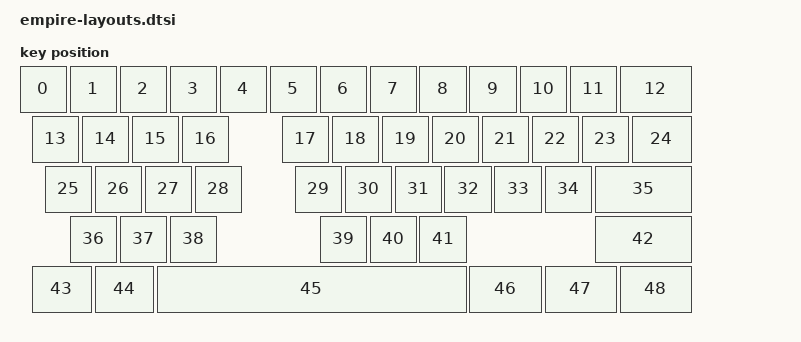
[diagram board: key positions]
#include <physical_layouts.dtsi>

/ {
    physical_layout0: physical_layout_0 {
        compatible = "zmk,physical-layout";
        display-name = "Default";
        transform = <&matrix_transform0>;

        keys  //                     w   h    x    y     rot    rx    ry
            = <&key_physical_attrs 100 100    0    0       0     0     0>
            , <&key_physical_attrs 100 100  100    0       0     0     0>
            , <&key_physical_attrs 100 100  200    0       0     0     0>
            , <&key_physical_attrs 100 100  300    0       0     0     0>
            , <&key_physical_attrs 100 100  400    0       0     0     0>
            , <&key_physical_attrs 100 100  500    0       0     0     0>
            , <&key_physical_attrs 100 100  600    0       0     0     0>
            , <&key_physical_attrs 100 100  700    0       0     0     0>
            , <&key_physical_attrs 100 100  800    0       0     0     0>
            , <&key_physical_attrs 100 100  900    0       0     0     0>
            , <&key_physical_attrs 100 100 1000    0       0     0     0>
            , <&key_physical_attrs 100 100 1100    0       0     0     0>
            , <&key_physical_attrs 150 100 1200    0       0     0     0>
            , <&key_physical_attrs 100 100   25  100       0     0     0>
            , <&key_physical_attrs 100 100  125  100       0     0     0>
            , <&key_physical_attrs 100 100  225  100       0     0     0>
            , <&key_physical_attrs 100 100  325  100       0     0     0>
            , <&key_physical_attrs 100 100  525  100       0     0     0>
            , <&key_physical_attrs 100 100  625  100       0     0     0>
            , <&key_physical_attrs 100 100  725  100       0     0     0>
            , <&key_physical_attrs 100 100  825  100       0     0     0>
            , <&key_physical_attrs 100 100  925  100       0     0     0>
            , <&key_physical_attrs 100 100 1025  100       0     0     0>
            , <&key_physical_attrs 100 100 1125  100       0     0     0>
            , <&key_physical_attrs 125 100 1225  100       0     0     0>
            , <&key_physical_attrs 100 100   50  200       0     0     0>
            , <&key_physical_attrs 100 100  150  200       0     0     0>
            , <&key_physical_attrs 100 100  250  200       0     0     0>
            , <&key_physical_attrs 100 100  350  200       0     0     0>
            , <&key_physical_attrs 100 100  550  200       0     0     0>
            , <&key_physical_attrs 100 100  650  200       0     0     0>
            , <&key_physical_attrs 100 100  750  200       0     0     0>
            , <&key_physical_attrs 100 100  850  200       0     0     0>
            , <&key_physical_attrs 100 100  950  200       0     0     0>
            , <&key_physical_attrs 100 100 1050  200       0     0     0>
            , <&key_physical_attrs 200 100 1150  200       0     0     0>
            , <&key_physical_attrs 100 100  100  300       0     0     0>
            , <&key_physical_attrs 100 100  200  300       0     0     0>
            , <&key_physical_attrs 100 100  300  300       0     0     0>
            , <&key_physical_attrs 100 100  600  300       0     0     0>
            , <&key_physical_attrs 100 100  700  300       0     0     0>
            , <&key_physical_attrs 100 100  800  300       0     0     0>
            , <&key_physical_attrs 200 100 1150  300       0     0     0>
            , <&key_physical_attrs 125 100   25  400       0     0     0>
            , <&key_physical_attrs 125 100  150  400       0     0     0>
            , <&key_physical_attrs 625 100  275  400       0     0     0>
            , <&key_physical_attrs 150 100  900  400       0     0     0>
            , <&key_physical_attrs 150 100 1050  400       0     0     0>
            , <&key_physical_attrs 150 100 1200  400       0     0     0>
            ;
    };

    position_map {
        compatible = "zmk,physical-layout-position-map";
        complete;

        layout0: layout0 {
            physical-layout = <&physical_layout0>;
            positions = <0  1  2  3  4  5  6  7  8  9  10 11 12>
                        <13 14 15 16    17 18 19 20 21 22 23 24>
                        <25 26 27 28    29 30 31 32 33 34    35>
                        <36 37 38       39 40 41             42>
                        <43 44          45          46 47    48>;
        };
    };
};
